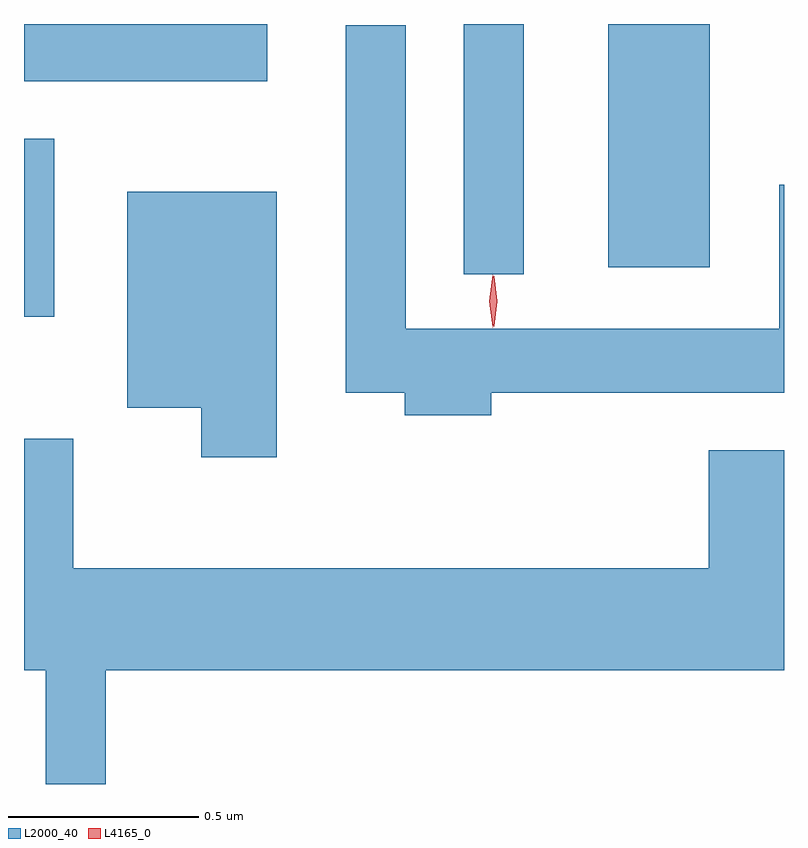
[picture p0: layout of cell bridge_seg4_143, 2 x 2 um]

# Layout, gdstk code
import gdstk
lib = gdstk.Library(unit=1e-6, precision=1e-09)
def R(c, l, rs):  # rectangles x0, y0, x1, y1
    for r in rs: c.add(gdstk.rectangle(r[:2], r[2:], *l))
def P(c, l, *ps):  # polygons
    for p in ps: c.add(gdstk.Polygon(p, *l))
L2000_40 = (2000, 40)
L4165_0 = (4165, 0)

bridge_seg4_143 = lib.new_cell('bridge_seg4_143')
R(bridge_seg4_143, L2000_40, [(868.619,1260.146,868.699,1260.614), (869.776,1260.258,869.934,1260.916), (870.156,1260.276,870.424,1260.916), (868.619,1260.766,869.259,1260.916)])
P(bridge_seg4_143, L2000_40, [(869.849,1259.946),(870.619,1259.946),(870.619,1260.493),(870.606,1260.493),(870.606,1260.114),(869.624,1260.114),(869.624,1260.913),(869.466,1260.913),(869.466,1259.946),(869.621,1259.946),(869.621,1259.886),(869.849,1259.886)],
  [(869.284,1260.474),(868.891,1260.474),(868.891,1259.906),(869.086,1259.906),(869.086,1259.776),(869.284,1259.776)],
  [(868.834,1259.216),(870.619,1259.216),(870.619,1259.794),(870.421,1259.794),(870.421,1259.484),(868.749,1259.484),(868.749,1259.824),(868.619,1259.824),(868.619,1259.216),(868.676,1259.216),(868.676,1258.916),(868.834,1258.916)])
P(bridge_seg4_143, L4165_0, [(869.855,1260.119),(869.855,1260.12),(869.845,1260.186),(869.855,1260.252),(869.855,1260.253),(869.856,1260.252),(869.865,1260.186),(869.856,1260.12)],
  [(869.853,1260.117),(869.852,1260.118),(869.843,1260.187),(869.852,1260.256),(869.853,1260.256),(869.853,1260.256),(869.863,1260.187),(869.853,1260.118)])

lib.write_gds('bridge_seg4_143.gds')
